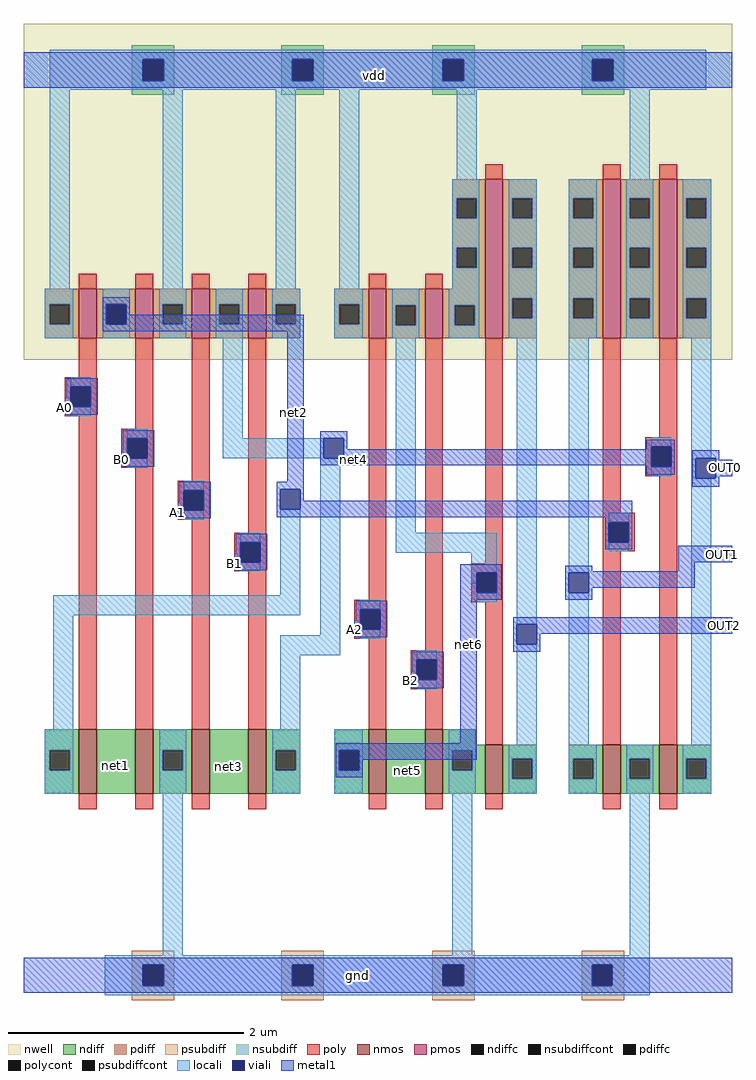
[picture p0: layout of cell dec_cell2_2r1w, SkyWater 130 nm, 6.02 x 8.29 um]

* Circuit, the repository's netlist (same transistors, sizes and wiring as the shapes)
* SPICE3 file created from dec_cell2_2r1w.ext - technology: sky130A



.subckt dec_cell2_2r1w A0 B0 A1 B1 A2 B2 OUT0 OUT1 OUT2 vdd gnd
X0 vdd net2 OUT0 vdd sky130_fd_pr__pfet_01v8 ad=0 pd=0 as=0 ps=0 w=1.35 l=0.15
X1 net5 A2 net6 gnd sky130_fd_pr__nfet_01v8 ad=0 pd=0 as=0 ps=0 w=0.55 l=0.15
X2 vdd B0 net2 vdd sky130_fd_pr__pfet_01v8 ad=0 pd=0 as=0 ps=0 w=0.42 l=0.15
X3 gnd net2 OUT0 gnd sky130_fd_pr__nfet_01v8 ad=0 pd=0 as=0 ps=0 w=0.42 l=0.15
X4 OUT2 net6 vdd vdd sky130_fd_pr__pfet_01v8 ad=0 pd=0 as=0 ps=0 w=1.35 l=0.15
X5 gnd B0 net1 gnd sky130_fd_pr__nfet_01v8 ad=0 pd=0 as=0 ps=0 w=0.55 l=0.15
X6 net4 A1 vdd vdd sky130_fd_pr__pfet_01v8 ad=0 pd=0 as=0 ps=0 w=0.42 l=0.15
X7 vdd B2 net6 vdd sky130_fd_pr__pfet_01v8 ad=0 pd=0 as=0 ps=0 w=0.42 l=0.15
X8 OUT2 net6 gnd gnd sky130_fd_pr__nfet_01v8 ad=0 pd=0 as=0 ps=0 w=0.42 l=0.15
X9 net3 A1 gnd gnd sky130_fd_pr__nfet_01v8 ad=0 pd=0 as=0 ps=0 w=0.55 l=0.15
X10 gnd B2 net5 gnd sky130_fd_pr__nfet_01v8 ad=0 pd=0 as=0 ps=0 w=0.55 l=0.15
X11 OUT1 net4 vdd vdd sky130_fd_pr__pfet_01v8 ad=0 pd=0 as=0 ps=0 w=1.35 l=0.15
X12 net2 A0 vdd vdd sky130_fd_pr__pfet_01v8 ad=0 pd=0 as=0 ps=0 w=0.42 l=0.15
X13 vdd B1 net4 vdd sky130_fd_pr__pfet_01v8 ad=0 pd=0 as=0 ps=0 w=0.42 l=0.15
X14 net6 A2 vdd vdd sky130_fd_pr__pfet_01v8 ad=0 pd=0 as=0 ps=0 w=0.42 l=0.15
X15 OUT1 net4 gnd gnd sky130_fd_pr__nfet_01v8 ad=0 pd=0 as=0 ps=0 w=0.42 l=0.15
X16 net1 A0 net2 gnd sky130_fd_pr__nfet_01v8 ad=0 pd=0 as=0 ps=0 w=0.55 l=0.15
X17 net4 B1 net3 gnd sky130_fd_pr__nfet_01v8 ad=0 pd=0 as=0 ps=0 w=0.55 l=0.15
.ends

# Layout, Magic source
magic
tech sky130A
<< nwell >>
rect 0 523 602 808
<< nmos >>
rect 47 154 62 209
rect 95 154 110 209
rect 143 154 158 209
rect 191 154 206 209
rect 293 154 308 209
rect 341 154 356 209
rect 392 154 407 196
rect 492 154 507 196
rect 540 154 555 196
<< pmos >>
rect 47 541 62 583
rect 95 541 110 583
rect 143 541 158 583
rect 191 541 206 583
rect 293 541 308 583
rect 341 541 356 583
rect 392 541 407 676
rect 492 541 507 676
rect 540 541 555 676
<< ndiff >>
rect 18 191 47 209
rect 18 174 22 191
rect 39 174 47 191
rect 18 154 47 174
rect 62 154 95 209
rect 110 191 143 209
rect 110 174 118 191
rect 135 174 143 191
rect 110 154 143 174
rect 158 154 191 209
rect 206 191 235 209
rect 206 174 214 191
rect 231 174 235 191
rect 206 154 235 174
rect 264 191 293 209
rect 264 174 268 191
rect 285 174 293 191
rect 264 154 293 174
rect 308 154 341 209
rect 356 196 384 209
rect 356 191 392 196
rect 356 174 364 191
rect 381 174 392 191
rect 356 154 392 174
rect 407 184 436 196
rect 407 167 415 184
rect 432 167 436 184
rect 407 154 436 167
rect 463 184 492 196
rect 463 167 467 184
rect 484 167 492 184
rect 463 154 492 167
rect 507 184 540 196
rect 507 167 515 184
rect 532 167 540 184
rect 507 154 540 167
rect 555 184 584 196
rect 555 167 563 184
rect 580 167 584 184
rect 555 154 584 167
<< pdiff >>
rect 364 660 392 676
rect 364 643 368 660
rect 385 643 392 660
rect 364 618 392 643
rect 364 601 368 618
rect 385 601 392 618
rect 364 583 392 601
rect 18 570 47 583
rect 18 553 22 570
rect 39 553 47 570
rect 18 541 47 553
rect 62 570 95 583
rect 62 553 70 570
rect 87 553 95 570
rect 62 541 95 553
rect 110 570 143 583
rect 110 553 118 570
rect 135 553 143 570
rect 110 541 143 553
rect 158 570 191 583
rect 158 553 166 570
rect 183 553 191 570
rect 158 541 191 553
rect 206 570 235 583
rect 206 553 214 570
rect 231 553 235 570
rect 206 541 235 553
rect 264 570 293 583
rect 264 553 268 570
rect 285 553 293 570
rect 264 541 293 553
rect 308 569 341 583
rect 308 552 316 569
rect 333 552 341 569
rect 308 541 341 552
rect 356 569 392 583
rect 356 552 366 569
rect 383 552 392 569
rect 356 541 392 552
rect 407 660 436 676
rect 407 643 415 660
rect 432 643 436 660
rect 407 618 436 643
rect 407 601 415 618
rect 432 601 436 618
rect 407 575 436 601
rect 407 558 415 575
rect 432 558 436 575
rect 407 541 436 558
rect 463 660 492 676
rect 463 643 467 660
rect 484 643 492 660
rect 463 618 492 643
rect 463 601 467 618
rect 484 601 492 618
rect 463 575 492 601
rect 463 558 467 575
rect 484 558 492 575
rect 463 541 492 558
rect 507 660 540 676
rect 507 643 515 660
rect 532 643 540 660
rect 507 618 540 643
rect 507 601 515 618
rect 532 601 540 618
rect 507 575 540 601
rect 507 558 515 575
rect 532 558 540 575
rect 507 541 540 558
rect 555 660 584 676
rect 555 643 563 660
rect 580 643 584 660
rect 555 618 584 643
rect 555 601 563 618
rect 580 601 584 618
rect 555 575 584 601
rect 555 558 563 575
rect 580 558 584 575
rect 555 541 584 558
<< ndiffc >>
rect 22 174 39 191
rect 118 174 135 191
rect 214 174 231 191
rect 268 174 285 191
rect 364 174 381 191
rect 415 167 432 184
rect 467 167 484 184
rect 515 167 532 184
rect 563 167 580 184
<< pdiffc >>
rect 368 643 385 660
rect 368 601 385 618
rect 22 553 39 570
rect 70 553 87 570
rect 118 553 135 570
rect 166 553 183 570
rect 214 553 231 570
rect 268 553 285 570
rect 316 552 333 569
rect 366 552 383 569
rect 415 643 432 660
rect 415 601 432 618
rect 415 558 432 575
rect 467 643 484 660
rect 467 601 484 618
rect 467 558 484 575
rect 515 643 532 660
rect 515 601 532 618
rect 515 558 532 575
rect 563 643 580 660
rect 563 601 580 618
rect 563 558 580 575
<< psubdiff >>
rect 92 9 128 21
rect 92 -9 101 9
rect 119 -9 128 9
rect 92 -21 128 -9
rect 219 9 255 21
rect 219 -9 228 9
rect 246 -9 255 9
rect 219 -21 255 -9
rect 347 9 383 21
rect 347 -9 356 9
rect 374 -9 383 9
rect 347 -21 383 -9
rect 474 9 510 21
rect 474 -9 483 9
rect 500 -9 510 9
rect 474 -21 510 -9
<< nsubdiff >>
rect 92 778 128 790
rect 92 760 101 778
rect 119 760 128 778
rect 92 748 128 760
rect 219 778 255 790
rect 219 760 228 778
rect 246 760 255 778
rect 219 748 255 760
rect 347 778 383 790
rect 347 760 356 778
rect 374 760 383 778
rect 347 748 383 760
rect 474 778 510 790
rect 474 760 483 778
rect 501 760 510 778
rect 474 748 510 760
<< psubdiffcont >>
rect 101 -9 119 9
rect 228 -9 246 9
rect 356 -9 374 9
rect 483 -9 500 9
<< nsubdiffcont >>
rect 101 760 119 778
rect 228 760 246 778
rect 356 760 374 778
rect 483 760 501 778
<< poly >>
rect 392 676 407 689
rect 492 676 507 689
rect 540 676 555 689
rect 47 583 62 596
rect 95 583 110 596
rect 143 583 158 596
rect 191 583 206 596
rect 293 583 308 596
rect 341 583 356 596
rect 47 508 62 541
rect 35 500 62 508
rect 35 483 40 500
rect 57 483 62 500
rect 35 475 62 483
rect 47 209 62 475
rect 95 464 110 541
rect 83 456 110 464
rect 83 439 88 456
rect 105 439 110 456
rect 83 431 110 439
rect 95 209 110 431
rect 143 420 158 541
rect 131 412 158 420
rect 131 395 136 412
rect 153 395 158 412
rect 131 387 158 395
rect 143 209 158 387
rect 191 376 206 541
rect 179 368 206 376
rect 179 351 184 368
rect 201 351 206 368
rect 179 343 206 351
rect 191 209 206 343
rect 293 319 308 541
rect 281 311 308 319
rect 281 294 286 311
rect 303 294 308 311
rect 281 286 308 294
rect 293 209 308 286
rect 341 276 356 541
rect 392 350 407 541
rect 380 342 407 350
rect 380 325 385 342
rect 402 325 407 342
rect 380 317 407 325
rect 329 268 356 276
rect 329 251 334 268
rect 351 251 356 268
rect 329 243 356 251
rect 341 209 356 243
rect 392 196 407 317
rect 492 393 507 541
rect 540 457 555 541
rect 528 449 555 457
rect 528 432 533 449
rect 550 432 555 449
rect 528 424 555 432
rect 492 385 519 393
rect 492 368 497 385
rect 514 368 519 385
rect 492 360 519 368
rect 492 196 507 360
rect 540 196 555 424
rect 47 141 62 154
rect 95 141 110 154
rect 143 141 158 154
rect 191 141 206 154
rect 293 141 308 154
rect 341 141 356 154
rect 392 141 407 154
rect 492 141 507 154
rect 540 141 555 154
<< polycont >>
rect 40 483 57 500
rect 88 439 105 456
rect 136 395 153 412
rect 184 351 201 368
rect 286 294 303 311
rect 385 325 402 342
rect 334 251 351 268
rect 533 432 550 449
rect 497 368 514 385
<< locali >>
rect 22 778 580 786
rect 22 760 101 778
rect 119 760 228 778
rect 246 760 356 778
rect 374 760 483 778
rect 501 760 580 778
rect 22 752 580 760
rect 22 583 39 752
rect 118 583 135 752
rect 214 583 231 752
rect 268 583 285 752
rect 368 676 385 752
rect 515 676 532 752
rect 364 660 387 676
rect 364 643 368 660
rect 385 643 387 660
rect 364 618 387 643
rect 364 601 368 618
rect 385 601 387 618
rect 364 583 387 601
rect 18 570 42 583
rect 18 553 22 570
rect 39 553 42 570
rect 18 541 42 553
rect 67 570 90 583
rect 67 553 70 570
rect 87 553 90 570
rect 67 541 90 553
rect 115 570 138 583
rect 115 553 118 570
rect 135 553 138 570
rect 115 541 138 553
rect 163 570 186 583
rect 163 553 166 570
rect 183 553 186 570
rect 163 541 186 553
rect 211 570 235 583
rect 211 553 214 570
rect 231 553 235 570
rect 211 541 235 553
rect 264 570 288 583
rect 264 553 268 570
rect 285 553 288 570
rect 264 541 288 553
rect 313 569 336 583
rect 313 552 316 569
rect 333 552 336 569
rect 313 541 336 552
rect 361 569 387 583
rect 361 552 366 569
rect 383 552 387 569
rect 361 541 387 552
rect 412 660 436 676
rect 412 643 415 660
rect 432 643 436 660
rect 412 618 436 643
rect 412 601 415 618
rect 432 601 436 618
rect 412 575 436 601
rect 412 558 415 575
rect 432 558 436 575
rect 412 541 436 558
rect 40 500 57 508
rect 40 475 57 483
rect 88 456 105 464
rect 169 456 186 541
rect 169 439 255 456
rect 88 431 105 439
rect 136 412 153 420
rect 136 387 153 395
rect 184 368 201 376
rect 184 343 201 351
rect 218 323 235 396
rect 25 306 235 323
rect 25 209 42 306
rect 252 289 269 439
rect 316 376 333 541
rect 316 359 402 376
rect 380 342 402 359
rect 380 333 385 342
rect 218 272 269 289
rect 286 311 303 319
rect 385 317 402 325
rect 286 286 303 294
rect 419 298 436 541
rect 218 209 235 272
rect 334 268 351 276
rect 334 243 351 251
rect 18 191 42 209
rect 18 174 22 191
rect 39 174 42 191
rect 18 154 42 174
rect 115 191 138 209
rect 115 174 118 191
rect 135 174 138 191
rect 115 154 138 174
rect 211 191 235 209
rect 211 174 214 191
rect 231 174 235 191
rect 211 154 235 174
rect 264 191 288 209
rect 264 174 268 191
rect 285 174 288 191
rect 264 154 288 174
rect 361 191 384 209
rect 419 196 436 281
rect 361 174 364 191
rect 381 174 384 191
rect 361 154 384 174
rect 412 184 436 196
rect 412 167 415 184
rect 432 167 436 184
rect 412 154 436 167
rect 463 660 487 676
rect 463 643 467 660
rect 484 643 487 660
rect 463 618 487 643
rect 463 601 467 618
rect 484 601 487 618
rect 463 575 487 601
rect 463 558 467 575
rect 484 558 487 575
rect 463 541 487 558
rect 512 660 535 676
rect 512 643 515 660
rect 532 643 535 660
rect 512 618 535 643
rect 512 601 515 618
rect 532 601 535 618
rect 512 575 535 601
rect 512 558 515 575
rect 532 558 535 575
rect 512 541 535 558
rect 560 660 584 676
rect 560 643 563 660
rect 580 643 584 660
rect 560 618 584 643
rect 560 601 563 618
rect 580 601 584 618
rect 560 575 584 601
rect 560 558 563 575
rect 580 558 584 575
rect 560 541 584 558
rect 463 342 480 541
rect 533 449 550 457
rect 533 424 550 432
rect 567 439 584 541
rect 567 422 571 439
rect 497 385 514 393
rect 497 360 514 368
rect 463 196 480 325
rect 567 196 584 422
rect 463 184 487 196
rect 463 167 467 184
rect 484 167 487 184
rect 463 154 487 167
rect 512 184 535 196
rect 512 167 515 184
rect 532 167 535 184
rect 512 154 535 167
rect 560 184 584 196
rect 560 167 563 184
rect 580 167 584 184
rect 560 154 584 167
rect 118 17 135 154
rect 364 17 381 154
rect 515 17 532 154
rect 69 9 532 17
rect 69 -9 101 9
rect 119 -9 228 9
rect 246 -9 356 9
rect 374 -9 483 9
rect 500 -9 532 9
rect 69 -17 532 -9
<< viali >>
rect 101 760 119 778
rect 228 760 246 778
rect 356 760 374 778
rect 483 760 501 778
rect 70 553 87 570
rect 40 483 57 500
rect 88 439 105 456
rect 255 439 272 456
rect 136 395 153 412
rect 218 396 235 413
rect 184 351 201 368
rect 385 325 402 342
rect 286 294 303 311
rect 419 281 436 298
rect 334 251 351 268
rect 268 174 285 191
rect 533 432 550 449
rect 571 422 588 439
rect 497 368 514 385
rect 463 325 480 342
rect 101 -9 119 9
rect 228 -9 246 9
rect 356 -9 374 9
rect 483 -9 500 9
<< metal1 >>
rect 0 778 602 784
rect 0 760 101 778
rect 119 760 228 778
rect 246 760 356 778
rect 374 760 483 778
rect 501 760 602 778
rect 0 754 602 760
rect 67 570 90 576
rect 67 553 70 570
rect 87 561 90 570
rect 87 553 238 561
rect 67 547 238 553
rect 36 500 63 507
rect 36 490 40 500
rect 35 483 40 490
rect 57 483 63 500
rect 35 476 63 483
rect 84 456 111 463
rect 84 446 88 456
rect 83 439 88 446
rect 105 439 111 456
rect 83 432 111 439
rect 224 419 238 547
rect 252 456 275 462
rect 252 439 255 456
rect 272 447 275 456
rect 529 449 553 455
rect 529 447 533 449
rect 272 439 533 447
rect 252 433 533 439
rect 529 432 533 433
rect 550 432 553 449
rect 529 425 553 432
rect 568 439 591 446
rect 132 412 159 419
rect 132 402 136 412
rect 131 395 136 402
rect 153 395 159 412
rect 131 388 159 395
rect 215 413 238 419
rect 568 422 571 439
rect 588 438 591 439
rect 588 424 602 438
rect 588 422 591 424
rect 568 415 591 422
rect 215 396 218 413
rect 235 403 238 413
rect 235 396 517 403
rect 215 389 517 396
rect 494 385 517 389
rect 180 368 207 375
rect 180 358 184 368
rect 179 351 184 358
rect 201 351 207 368
rect 494 368 497 385
rect 514 368 517 385
rect 494 362 517 368
rect 179 344 207 351
rect 556 351 602 365
rect 371 342 406 349
rect 371 325 385 342
rect 402 325 406 342
rect 371 319 406 325
rect 460 343 483 348
rect 556 343 570 351
rect 460 342 570 343
rect 460 325 463 342
rect 480 329 570 342
rect 480 325 483 329
rect 460 319 483 325
rect 282 311 309 318
rect 282 301 286 311
rect 281 294 286 301
rect 303 294 309 311
rect 281 287 309 294
rect 330 268 357 275
rect 330 258 334 268
rect 329 251 334 258
rect 351 251 357 268
rect 329 244 357 251
rect 371 197 385 319
rect 416 298 602 304
rect 416 281 419 298
rect 436 290 602 298
rect 436 281 439 290
rect 416 275 439 281
rect 265 191 385 197
rect 265 174 268 191
rect 285 183 385 191
rect 285 174 288 183
rect 265 168 288 174
rect 0 9 602 15
rect 0 -9 101 9
rect 119 -9 228 9
rect 246 -9 356 9
rect 374 -9 483 9
rect 500 -9 602 9
rect 0 -15 602 -9
<< labels >>
flabel metal1 281 294 281 294 0 FreeSans 80 0 0 0 A2
port 5 nsew
flabel metal1 595 297 595 297 0 FreeSans 80 0 0 0 OUT2
port 9 nsew
flabel ndiff 78 178 78 178 0 FreeSans 80 0 0 0 net1
flabel metal1 229 478 229 478 0 FreeSans 80 0 0 0 net2
flabel ndiff 174 177 174 177 0 FreeSans 80 0 0 0 net3
flabel metal1 280 438 280 438 0 FreeSans 80 0 0 0 net4
flabel ndiff 326 174 326 174 0 FreeSans 80 0 0 0 net5
flabel metal1 378 281 378 281 0 FreeSans 80 0 0 0 net6
flabel metal1 298 764 298 764 0 FreeSans 80 0 0 0 vdd
port 10 nsew
flabel metal1 284 0 284 0 0 FreeSans 80 0 0 0 gnd
port 11 nsew
flabel metal1 596 431 596 431 0 FreeSans 80 0 0 0 OUT0
port 12 nsew
flabel metal1 594 357 594 357 0 FreeSans 80 0 0 0 OUT1
port 13 nsew
flabel metal1 35 482 35 482 0 FreeSans 80 0 0 0 A0
port 0 nsew
flabel metal1 83 438 83 438 0 FreeSans 80 0 0 0 B0
port 1 nsew
flabel metal1 131 393 131 393 0 FreeSans 80 0 0 0 A1
port 3 nsew
flabel metal1 179 350 179 350 0 FreeSans 80 0 0 0 B1
port 4 nsew
flabel metal1 329 250 329 250 0 FreeSans 80 0 0 0 B2
port 6 nsew
<< properties >>
string FIXED_BBOX 0 -21 602 769
<< end >>
